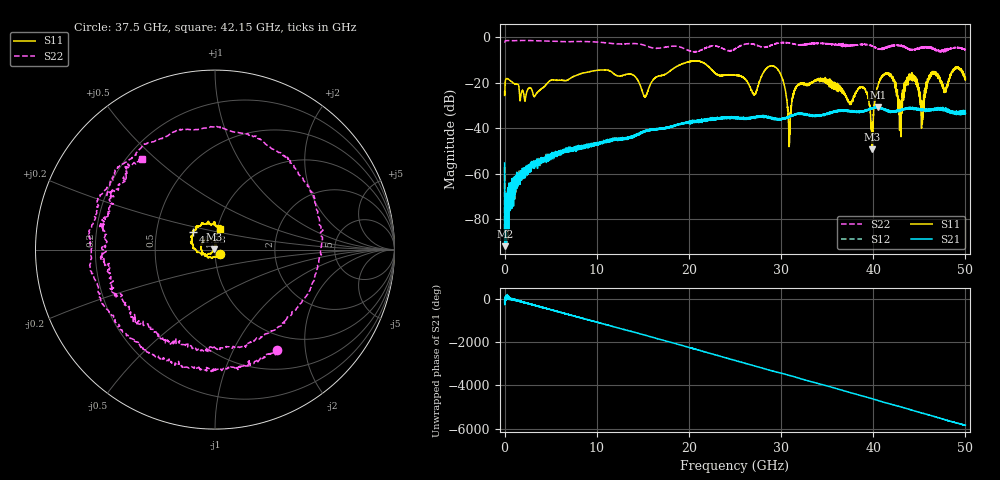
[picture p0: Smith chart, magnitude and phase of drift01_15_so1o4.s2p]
!Created with skrf (http://scikit-rf.org).
# Hz S RI R 50.0
!freq ReS11 ImS11 ReS21 ImS21 ReS12 ImS12 ReS22 ImS22
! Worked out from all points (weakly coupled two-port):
!   10001 points, 300 kHz to 50 GHz, reference 50 ohm
!   highest |S21| = -30.61 dB at 40.49 GHz (marker M1); lowest = -91.9 dB at 10.3 MHz (marker M2)
!   lowest |S11| = -49.2 dB at 39.87 GHz (marker M3), VSWR 1.01, Z = 49.7 + j0.0957 ohm
!   |S11| at or under -10 dB: start of sweep to end of sweep
!   |S22| runs from -6.6 to -1.4 dB; largest |S21 - S12| = 0.0046
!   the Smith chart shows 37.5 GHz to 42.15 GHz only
!   S11 on the Smith chart (normalised r, x): 37.5 GHz: 1.06, -0.05; 41.23 GHz: 0.77, +0.16; 42.15 GHz: 1.03, +0.24
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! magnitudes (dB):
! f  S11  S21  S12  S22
! 300 kHz  -24.0  -55.3  -57.1  -2.1
! 10.3 MHz  -25.2  -91.9  -80.1  -2.1
! 8.335 GHz  -15.9  -47.8  -47.6  -1.8
! 16.67 GHz  -17.1  -40.3  -40.3  -4.8
! 25 GHz  -16.6  -35.6  -35.3  -5.1
! 27.11 GHz  -25.2  -35.3  -35.0  -3.1
! 29.41 GHz  -13.2  -35.8  -36.0  -2.7
! 30.9 GHz  -47.1  -35.1  -34.7  -2.5
! 31.66 GHz  -21.7  -33.6  -33.7  -3.2
! 33.34 GHz  -19.8  -34.3  -34.3  -2.6
! 37.5 GHz  -28.8  -32.5  -32.5  -3.7
! 38.95 GHz  -22.1  -32.4  -32.4  -3.1
! 39.87 GHz  -49.2  -31.1  -31.3  -3.8
! 40.49 GHz  -21.7  -30.6  -31.0  -5.0
! 41.23 GHz  -16.0  -31.9  -31.7  -4.5
! 41.67 GHz  -16.2  -32.5  -32.3  -4.1
! 42.15 GHz  -18.5  -32.6  -32.8  -3.8
! 42.91 GHz  -30.5  -31.8  -32.2  -3.4
! 44.07 GHz  -18.5  -31.1  -31.1  -5.3
! 45.31 GHz  -38.2  -32.3  -32.3  -4.3
! 46.42 GHz  -16.0  -31.7  -32.0  -4.7
! 50 GHz  -18.0  -33.5  -33.2  -5.3
